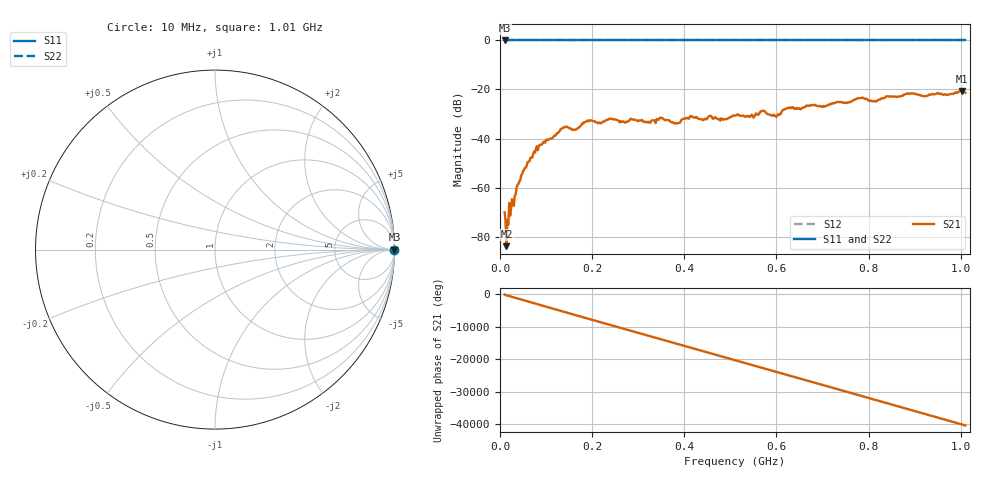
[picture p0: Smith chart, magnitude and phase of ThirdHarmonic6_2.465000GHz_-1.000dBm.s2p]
! 8/17/2025 4:29:55 AM
! C:\ANRITSUVNA\TEMP\TEMP.S2P
! CHANNEL.1
! TR.MEASUREMENT
! RAW.DATA
! RF.CORRECTION.OFF
! AVERAGING.OFF
! IF.BANDWIDTH: 5KHZ
! SWEEPTYPE:  FREQ.SWEEP(Linear)
! Reference Plane Port Info
! PORT:  PORT1  PORT2
! DISTANCE:  0  m  0  m
! TIME:  0  s  0  s
! PHASE.OFFSET:  0  deg.  0  deg.
! LOSS:  0  dB  0  dB
! REF.LOSS:  0  dB  0  dB
! REF.FREQ:  0  Hz  0  Hz
! Power Info
! POWER:  -20  dBm  -20  dBm
! EFF.POWER:  -20  dBm  -20  dBm
! SOURCE.ATTEN:  0  dB  0  dB
! TEST.ATTEN:  0  dB  0  dB
# GHZ S RI R 50.0
! FREQ.GHZ  S11RE  S11IM  S21RE  S21IM  S12RE  S12IM  S22RE  S22IM
!; PortSelection: Port_12
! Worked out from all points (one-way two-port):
!   501 points, 10 MHz to 1.01 GHz, reference 50 ohm
!   highest |S21| = -20.64 dB at 1.002 GHz (marker M1); lowest = -83.9 dB at 14 MHz (marker M2)
!   lowest |S11| = 0.0 dB at 10 MHz (marker M3)
!   |S11| at or under -10 dB: nowhere
!   |S22| runs from 0.0 to 0.0 dB; largest |S21 - S12| = 1.1
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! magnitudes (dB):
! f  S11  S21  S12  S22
! 10 MHz  0.0  -70.1  0.0  0.0
! 14 MHz  0.0  -83.9  0.0  0.0
! 50 MHz  0.0  -53.3  0.0  0.0
! 76 MHz  0.0  -45.7  0.0  0.0
! 136 MHz  0.0  -35.8  0.0  0.0
! 162 MHz  0.0  -36.5  0.0  0.0
! 178 MHz  0.0  -33.9  0.0  0.0
! 240 MHz  0.0  -31.9  0.0  0.0
! 322 MHz  0.0  -33.1  0.0  0.0
! 344 MHz  0.0  -32.3  0.0  0.0
! 382 MHz  0.0  -33.7  0.0  0.0
! 416 MHz  0.0  -31.0  0.0  0.0
! 488 MHz  0.0  -32.1  0.0  0.0
! 510 MHz  0.0  -30.6  0.0  0.0
! 548 MHz  0.0  -30.5  0.0  0.0
! 570 MHz  0.0  -28.7  0.0  0.0
! 600 MHz  0.0  -31.2  0.0  0.0
! 624 MHz  0.0  -27.5  0.0  0.0
! 678 MHz  0.0  -26.4  0.0  0.0
! 844 MHz  0.0  -22.9  0.0  0.0
! 1.002 GHz  0.0  -20.6  0.0  0.0
! 1.01 GHz  0.0  -21.3  0.0  0.0
